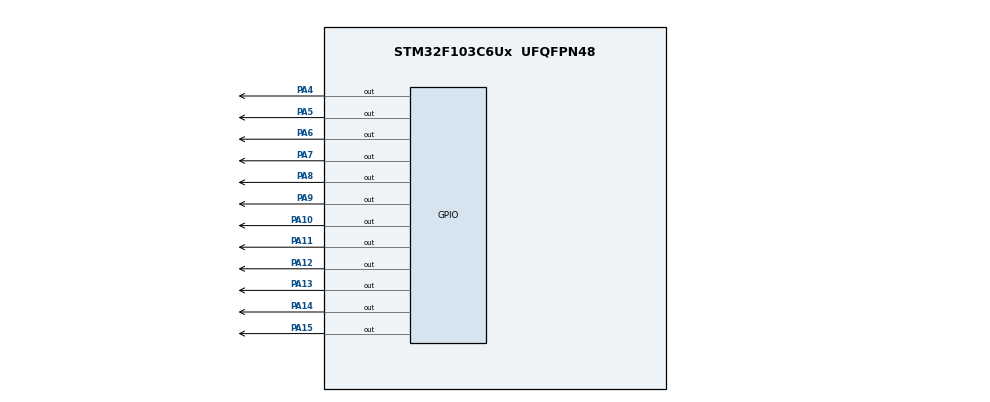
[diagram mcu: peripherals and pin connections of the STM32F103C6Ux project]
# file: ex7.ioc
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Mcu.Family=STM32F1
Mcu.Name=STM32F103C6Ux
Mcu.Package=UFQFPN48
NVIC.PriorityGroup=NVIC_PRIORITYGROUP_4
PA10.Signal=GPIO_Output
PA11.Signal=GPIO_Output
PA12.Signal=GPIO_Output
PA13.Signal=GPIO_Output
PA14.Signal=GPIO_Output
PA15.Signal=GPIO_Output
PA4.Signal=GPIO_Output
PA5.Signal=GPIO_Output
PA6.Signal=GPIO_Output
PA7.Signal=GPIO_Output
PA8.Signal=GPIO_Output
PA9.Signal=GPIO_Output
ProjectManager.HeapSize=0x200
ProjectManager.StackSize=0x400
ProjectManager.TargetToolchain=STM32CubeIDE
RCC.APB1Freq_Value=8000000
RCC.APB2Freq_Value=8000000
board=custom

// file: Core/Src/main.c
/* USER CODE BEGIN Header */
/**
  ******************************************************************************
  * @file           : main.c
  * @brief          : Main program body
  ******************************************************************************
  * @attention
  *
  * Copyright (c) 2022 STMicroelectronics.
  * All rights reserved.
  *
  * This software is licensed under terms that can be found in the LICENSE file
  * in the root directory of this software component.
  * If no LICENSE file comes with this software, it is provided AS-IS.
  *
  ******************************************************************************
  */
/* USER CODE END Header */
#include "main.h"

void SystemClock_Config(void);
static void MX_GPIO_Init(void);

/* USER CODE BEGIN 0 */
void clearAllClock(void)
{
	HAL_GPIO_WritePin(GPIOA, GPIO_PIN_4|GPIO_PIN_5|GPIO_PIN_6|GPIO_PIN_7|GPIO_PIN_8|GPIO_PIN_9|GPIO_PIN_10|GPIO_PIN_11|GPIO_PIN_12|GPIO_PIN_13|GPIO_PIN_14|GPIO_PIN_15, SET);
}
void LedProcess(void){
		HAL_GPIO_TogglePin(GPIOA, GPIO_PIN_4);
		HAL_Delay(500);
		HAL_GPIO_TogglePin(GPIOA, GPIO_PIN_5);
		HAL_Delay(500);
		HAL_GPIO_TogglePin(GPIOA, GPIO_PIN_6);
		HAL_Delay(500);
		HAL_GPIO_TogglePin(GPIOA, GPIO_PIN_7);
		HAL_Delay(500);
		HAL_GPIO_TogglePin(GPIOA, GPIO_PIN_8);
		HAL_Delay(500);
		HAL_GPIO_TogglePin(GPIOA, GPIO_PIN_9);
		HAL_Delay(500);
		HAL_GPIO_TogglePin(GPIOA, GPIO_PIN_10);
		HAL_Delay(500);
		HAL_GPIO_TogglePin(GPIOA, GPIO_PIN_11);
		HAL_Delay(500);
		HAL_GPIO_TogglePin(GPIOA, GPIO_PIN_12);
		HAL_Delay(500);
		HAL_GPIO_TogglePin(GPIOA, GPIO_PIN_13);
		HAL_Delay(500);
		HAL_GPIO_TogglePin(GPIOA, GPIO_PIN_14);
		HAL_Delay(500);
		HAL_GPIO_TogglePin(GPIOA, GPIO_PIN_15);
		HAL_Delay(500);
}
/* USER CODE END 0 */

int main(void)
{

  /* MCU Configuration--------------------------------------------------------*/

  /* Reset of all peripherals, Initializes the Flash interface and the Systick. */
  HAL_Init();

  /* Configure the system clock */
  SystemClock_Config();

  /* Initialize all configured peripherals */
  MX_GPIO_Init();

  /* Infinite loop */
  while (1)
  {
	  clearAllClock();
	  LedProcess();
	  clearAllClock();
  }
}

void SystemClock_Config(void)
{
  RCC_OscInitTypeDef RCC_OscInitStruct = {0};
  RCC_ClkInitTypeDef RCC_ClkInitStruct = {0};

  /** Initializes the RCC Oscillators according to the specified parameters
  * in the RCC_OscInitTypeDef structure.
  */
  RCC_OscInitStruct.OscillatorType = RCC_OSCILLATORTYPE_HSI;
  RCC_OscInitStruct.HSIState = RCC_HSI_ON;
  RCC_OscInitStruct.HSICalibrationValue = RCC_HSICALIBRATION_DEFAULT;
  RCC_OscInitStruct.PLL.PLLState = RCC_PLL_NONE;
  if (HAL_RCC_OscConfig(&RCC_OscInitStruct) != HAL_OK)
  {
    Error_Handler();
  }

  /** Initializes the CPU, AHB and APB buses clocks
  */
  RCC_ClkInitStruct.ClockType = RCC_CLOCKTYPE_HCLK|RCC_CLOCKTYPE_SYSCLK
                              |RCC_CLOCKTYPE_PCLK1|RCC_CLOCKTYPE_PCLK2;
  RCC_ClkInitStruct.SYSCLKSource = RCC_SYSCLKSOURCE_HSI;
  RCC_ClkInitStruct.AHBCLKDivider = RCC_SYSCLK_DIV1;
  RCC_ClkInitStruct.APB1CLKDivider = RCC_HCLK_DIV1;
  RCC_ClkInitStruct.APB2CLKDivider = RCC_HCLK_DIV1;

  if (HAL_RCC_ClockConfig(&RCC_ClkInitStruct, FLASH_LATENCY_0) != HAL_OK)
  {
    Error_Handler();
  }
}

static void MX_GPIO_Init(void)
{
  GPIO_InitTypeDef GPIO_InitStruct = {0};

  /* GPIO Ports Clock Enable */
  __HAL_RCC_GPIOA_CLK_ENABLE();

  /*Configure GPIO pin Output Level */
  HAL_GPIO_WritePin(GPIOA, GPIO_PIN_4|GPIO_PIN_5|GPIO_PIN_6|GPIO_PIN_7
                          |GPIO_PIN_8|GPIO_PIN_9|GPIO_PIN_10|GPIO_PIN_11
                          |GPIO_PIN_12|GPIO_PIN_13|GPIO_PIN_14|GPIO_PIN_15, GPIO_PIN_RESET);

  /*Configure GPIO pins : PA4 PA5 PA6 PA7
                           PA8 PA9 PA10 PA11
                           PA12 PA13 PA14 PA15 */
  GPIO_InitStruct.Pin = GPIO_PIN_4|GPIO_PIN_5|GPIO_PIN_6|GPIO_PIN_7
                          |GPIO_PIN_8|GPIO_PIN_9|GPIO_PIN_10|GPIO_PIN_11
                          |GPIO_PIN_12|GPIO_PIN_13|GPIO_PIN_14|GPIO_PIN_15;
  GPIO_InitStruct.Mode = GPIO_MODE_OUTPUT_PP;
  GPIO_InitStruct.Pull = GPIO_NOPULL;
  GPIO_InitStruct.Speed = GPIO_SPEED_FREQ_LOW;
  HAL_GPIO_Init(GPIOA, &GPIO_InitStruct);

}

void Error_Handler(void)
{
  __disable_irq();
  while (1)
  {
  }
}
